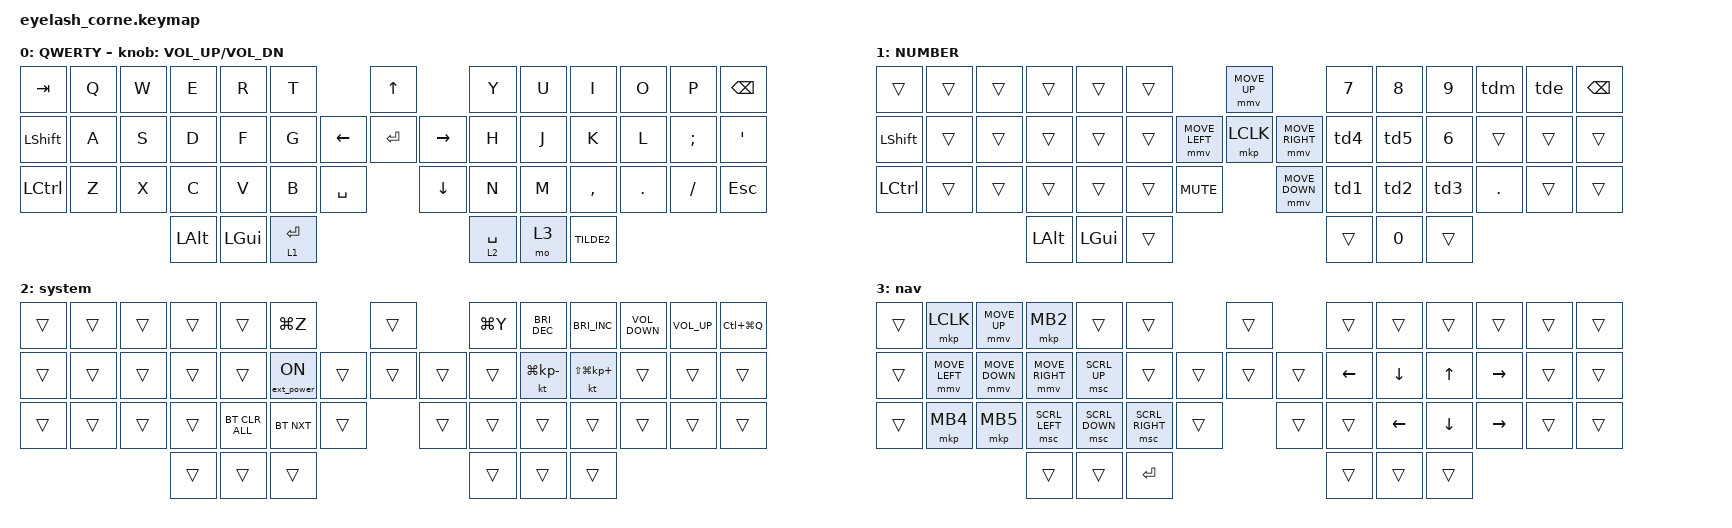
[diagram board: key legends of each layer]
#define ZMK_POINTING_DEFAULT_MOVE_VAL 1200  // 600
#define ZMK_POINTING_DEFAULT_SCRL_VAL 25   // 10

#include <input/processors.dtsi>
#include <zephyr/dt-bindings/input/input-event-codes.h>
#include <behaviors.dtsi>
#include <dt-bindings/zmk/bt.h>
#include <dt-bindings/zmk/ext_power.h>
#include <dt-bindings/zmk/keys.h>
#include <dt-bindings/zmk/pointing.h>

&mmv_input_listener { input-processors = <&zip_xy_scaler 2 1>; };

&msc_input_listener { input-processors = <&zip_scroll_scaler 2 1>; };

&msc {
    acceleration-exponent = <1>;      // 0
    time-to-max-speed-ms = <100>;       // 300
    delay-ms = <0>;                   // 0
};

&mmv {
    time-to-max-speed-ms = <500>;
    acceleration-exponent = <1>;
    trigger-period-ms = <16>;
};

&soft_off { hold-time-ms = <2000>; };

/ {
    behaviors {
        td0: td0 {
            compatible = "zmk,behavior-tap-dance";
            display-name = "Shift/Caps Lock Tap Dance";
            #binding-cells = <0>;
            bindings = <&kp LEFT_SHIFT>, <&kp CAPS>;
        };

        td1: td1 {
            compatible = "zmk,behavior-tap-dance";
            display-name = "Shift/Caps Lock Tap Dance";
            #binding-cells = <0>;
            bindings = <&kp NUMBER_1>, <&kp F1>;

            label = "TD1";
        };

        td2: td2 {
            compatible = "zmk,behavior-tap-dance";
            display-name = "Shift/Caps Lock Tap Dance";
            #binding-cells = <0>;
            bindings = <&kp NUMBER_2>, <&kp F2>;

            label = "TD2";
        };

        td3: td3 {
            compatible = "zmk,behavior-tap-dance";
            display-name = "Shift/Caps Lock Tap Dance";
            #binding-cells = <0>;
            bindings = <&kp NUMBER_3>, <&kp F3>;

            label = "TD3";
        };

        td4: td4 {
            compatible = "zmk,behavior-tap-dance";
            display-name = "Shift/Caps Lock Tap Dance";
            #binding-cells = <0>;
            bindings = <&kp NUMBER_4>, <&kp F4>;

            label = "TD4";
        };

        td5: td5 {
            compatible = "zmk,behavior-tap-dance";
            display-name = "Shift/Caps Lock Tap Dance";
            #binding-cells = <0>;
            bindings = <&kp N5>, <&kp F5>;

            label = "TD5";
        };

        tdm: tdm {
            compatible = "zmk,behavior-tap-dance";
            display-name = "Shift/Caps Lock Tap Dance";
            #binding-cells = <0>;
            bindings = <&kp MINUS>, <&kp LG(F5)>;

            label = "TDM";
        };

        tde: tde {
            compatible = "zmk,behavior-tap-dance";
            display-name = "Shift/Caps Lock Tap Dance";
            #binding-cells = <0>;
            bindings = <&kp EQUAL>, <&kp LG(EQUAL)>;

            label = "TDE";
        };
    };

    scroll_encoder: scroll_encoder {
        compatible = "zmk,behavior-sensor-rotate";
        #sensor-binding-cells = <0>;
        bindings = <&msc SCRL_DOWN>, <&msc SCRL_UP>;

        tap-ms = <100>;
    };

    combos {
        compatible = "zmk,combos";

        softoff {
            bindings = <&soft_off>;
            key-positions = <1 15 29>;
        };
    };

    keymap {
        compatible = "zmk,keymap";

        default_layer {
            display-name = "QWERTY";
            bindings = <
&kp TAB           &kp Q  &kp W  &kp E         &kp R         &kp T                               &kp UP                &kp Y        &kp U  &kp I       &kp O    &kp P     &kp BSPC
&kp LEFT_SHIFT    &kp A  &kp S  &kp D         &kp F         &kp G                     &kp LEFT  &kp ENTER  &kp RIGHT  &kp H        &kp J  &kp K       &kp L    &kp SEMI  &kp SQT
&kp LEFT_CONTROL  &kp Z  &kp X  &kp C         &kp V         &kp B        &kp SPACE              &kp DOWN              &kp N        &kp M  &kp COMMA   &kp DOT  &kp FSLH  &kp ESC
                                &kp LEFT_ALT  &kp LEFT_GUI  &lt 1 ENTER                                               &lt 2 SPACE  &mo 3  &kp TILDE2
            >;

            sensor-bindings = <&inc_dec_kp C_VOLUME_UP C_VOL_DN>;
        };

        lower_layer {
            display-name = "NUMBER";
            bindings = <
&trans          &trans  &trans  &trans        &trans        &trans                                &mmv MOVE_UP                     &kp N7  &kp N8  &kp N9        &tdm        &tde    &kp BSPC
&kp LEFT_SHIFT  &trans  &trans  &trans        &trans        &trans                &mmv MOVE_LEFT  &mkp LCLK       &mmv MOVE_RIGHT  &td4    &td5    &kp NUMBER_6  &trans      &trans  &trans
&kp LCTRL       &trans  &trans  &trans        &trans        &trans  &kp C_MUTE                    &mmv MOVE_DOWN                   &td1    &td2    &td3          &kp PERIOD  &trans  &trans
                                &kp LEFT_ALT  &kp LEFT_GUI  &trans                                                                 &trans  &kp N0  &trans
            >;
        };

        system {
            bindings = <
&trans  &trans  &trans  &trans  &trans          &kp LG(Z)                           &trans          &kp LG(Y)  &kp C_BRIGHTNESS_DEC  &kp C_BRIGHTNESS_INC  &kp K_VOLUME_DOWN  &kp K_VOLUME_UP  &kp LC(LG(Q))
&trans  &trans  &trans  &trans  &trans          &ext_power EP_ON            &trans  &trans  &trans  &trans     &kt LG(KP_MINUS)      &kt LS(LG(KP_PLUS))   &trans             &trans           &trans
&trans  &trans  &trans  &trans  &bt BT_CLR_ALL  &bt BT_NXT        &trans            &trans          &trans     &trans                &trans                &trans             &trans           &trans
                        &trans  &trans          &trans                                              &trans     &trans                &trans
            >;
        };

        nav {
            bindings = <
&trans  &mkp LCLK       &mmv MOVE_UP    &mkp MB2         &trans          &trans                             &trans          &trans    &trans    &trans        &trans     &trans  &trans
&trans  &mmv MOVE_LEFT  &mmv MOVE_DOWN  &mmv MOVE_RIGHT  &msc SCRL_UP    &trans                     &trans  &trans  &trans  &kp LEFT  &kp DOWN  &kp UP_ARROW  &kp RIGHT  &trans  &trans
&trans  &mkp MB4        &mkp MB5        &msc SCRL_LEFT   &msc SCRL_DOWN  &msc SCRL_RIGHT  &trans            &trans          &trans    &kp LEFT  &kp DOWN      &kp RIGHT  &trans  &trans
                                        &trans           &trans          &kp ENTER                                          &trans    &trans    &trans
            >;
        };
    };
};
